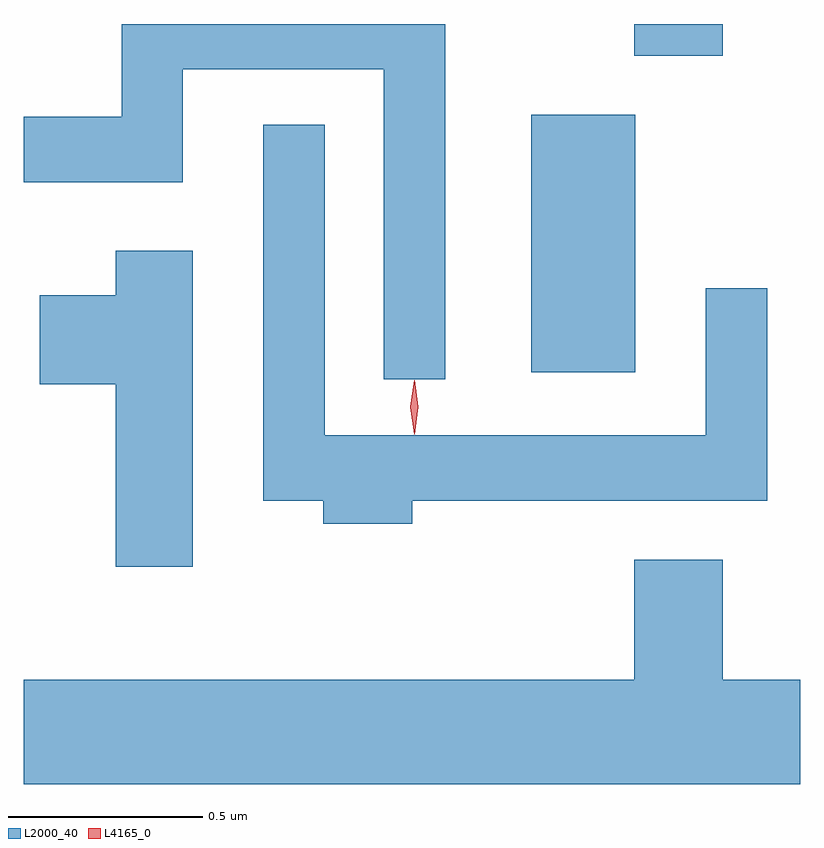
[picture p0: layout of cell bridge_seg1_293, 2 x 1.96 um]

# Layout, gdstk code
import gdstk
lib = gdstk.Library(unit=1e-6, precision=1e-09)
def R(c, l, rs):  # rectangles x0, y0, x1, y1
    for r in rs: c.add(gdstk.rectangle(r[:2], r[2:], *l))
def P(c, l, *ps):  # polygons
    for p in ps: c.add(gdstk.Polygon(p, *l))
L2000_40 = (2000, 40)
L4165_0 = (4165, 0)

bridge_seg1_293 = lib.new_cell('bridge_seg1_293')
R(bridge_seg1_293, L2000_40, [(841.666,896.196,841.934,896.859), (841.931,897.011,842.159,897.093)])
P(bridge_seg1_293, L2000_40, [(841.444,897.093),(840.611,897.093),(840.611,896.854),(840.359,896.854),(840.359,896.686),(840.769,896.686),(840.769,896.976),(841.286,896.976),(841.286,896.178),(841.444,896.178)],
  [(841.359,895.866),(842.274,895.866),(842.274,896.413),(842.116,896.413),(842.116,896.034),(841.134,896.034),(841.134,896.833),(840.976,896.833),(840.976,895.866),(841.131,895.866),(841.131,895.806),(841.359,895.806)],
  [(840.794,896.509),(840.596,896.509),(840.596,896.394),(840.401,896.394),(840.401,896.166),(840.596,896.166),(840.596,895.696),(840.794,895.696)],
  [(842.359,895.404),(842.159,895.404),(842.159,895.714),(841.931,895.714),(841.931,895.404),(840.359,895.404),(840.359,895.136),(842.359,895.136)])
P(bridge_seg1_293, L4165_0, [(841.365,896.037),(841.365,896.037),(841.355,896.107),(841.365,896.176),(841.365,896.176),(841.366,896.176),(841.375,896.107),(841.366,896.037)],
  [(841.365,896.039),(841.365,896.04),(841.355,896.106),(841.365,896.172),(841.365,896.173),(841.366,896.172),(841.375,896.106),(841.366,896.04)])

lib.write_gds('bridge_seg1_293.gds')
